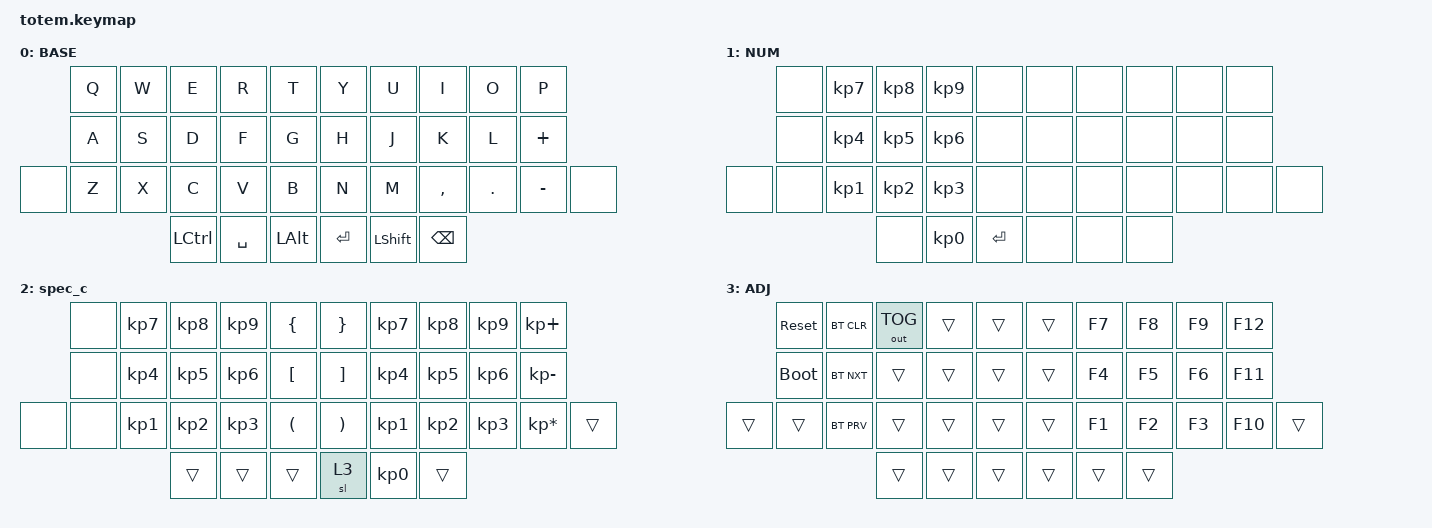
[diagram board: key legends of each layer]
//
//                                                        ▀▀▀▀▀     ▀▀▀▀▀          ▀▀█▀▀
//                                                        ▄▀▀▀▄  ▄  ▄▀▀▀▄  ▄  ▄▀▀▀▄  █  ▄▀▀▀▄
//                                                        █   █  █  █   █  █  █   █  █  █   █
//                                                         ▀▀▀   █   ▀▀▀   █   ▀▀▀   ▀   ▀▀▀
//                                                               █      ▄▄▄█▄▄▄    █   █  
//                                                               ▀      █  █  █     █▄█
//                                                             ▀▀▀▀▀    █  █  █      ▀
//                                                                      ▀  ▀  ▀
//
// ▄▄▄▄▄▄▄▄▄▄▄▄▄▄▄▄▄▄▄▄▄▄▄▄▄▄▄▄▄▄▄▄▄▄▄▄▄▄▄▄▄▄▄▄▄▄▄▄▄▄▄▄▄▄▄▄▄▄▄▄▄▄▄▄▄▄▄▄▄▄▄▄▄▄▄▄▄▄▄▄▄▄▄▄▄▄▄▄▄▄▄▄▄▄▄▄▄▄▄▄▄▄▄▄▄▄▄▄▄▄▄▄▄▄▄▄▄▄▄▄▄▄▄▄▄▄▄▄▄▄▄▄▄▄▄▄▄▄▄▄▄▄▄▄▄▄▄▄▄

#include <behaviors.dtsi>
#include <dt-bindings/zmk/bt.h>
#include <dt-bindings/zmk/keys.h>
#include <dt-bindings/zmk/outputs.h>

#define BASE 0
#define NAV  1
#define SYM  2
#define ADJ  3
#define TVP1 4
#define TVP2 5

&mt {
    quick-tap-ms = <100>;
    global-quick-tap;
    flavor = "tap-preferred";
    tapping-term-ms = <170>;
};

/ {
    combos {
        compatible = "zmk,combos";

        combo_esc {
            timeout-ms = <50>;
            key-positions = <0 1>;
            bindings = <&kp ESC>;
        };

        combo_tab {
            bindings = <&kp TAB>;
            key-positions = <11 12>;
        };

        combo_enter {
            bindings = <&kp ENTER>;
            key-positions = <17 18>;
        };

        combo_layer1 {
            bindings = <&sl 1>;
            key-positions = <22 23 24>;
        };

        combo_layer0 {
            bindings = <&sl 0>;
            key-positions = <11 12 13>;
        };
    };

    macros {
        gif: gif {
            label = "giphy";
            compatible = "zmk,behavior-macro";
            #binding-cells = <0>;
            bindings =
                <&macro_press>,
                <&kp LSHFT>,
                <&macro_tap>,
                <&kp N2>,
                <&macro_release>,
                <&kp LSHFT>,
                <&macro_tap>,
                <&kp G &kp I &kp F>;
        };
    };

    keymap {
        compatible = "zmk,keymap";

        // ▄▄▄▄▄▄▄▄▄▄▄▄▄▄▄▄▄▄▄▄▄▄▄▄▄▄▄▄▄▄▄▄▄▄▄▄▄▄▄▄▄▄▄▄▄▄▄▄▄▄▄▄▄▄▄▄▄▄▄▄▄▄▄▄▄▄▄▄▄▄▄▄▄▄▄▄▄▄▄▄▄▄▄▄▄▄▄▄▄▄▄▄▄▄▄▄▄▄▄▄▄▄▄▄▄▄▄▄▄▄▄▄▄▄▄▄▄▄▄▄▄▄▄▄▄▄▄▄▄▄▄▄▄▄▄▄▄▄▄▄▄▄▄▄▄▄▄▄▄

        base_layer {
            // ┏━━━━━━━━━━━━━━━━━━━━━━━━━━━━━━━━━━━━━━━┓

            label = "BASE";

            // ┗━━━━━━━━━━━━━━━━━━━━━━━━━━━━━━━━━━━━━━━┛
            //             ┏━━━━━━━━━━━┳━━━━━━━━━━━┳━━━━━━━━━━━┳━━━━━━━━━━━┳━━━━━━━━━━━┓   ┏━━━━━━━━━━━┳━━━━━━━━━━━┳━━━━━━━━━━━┳━━━━━━━━━━━┳━━━━━━━━━━━┓
            //             ┃     Q     ┃     W     ┃     F     ┃     P     ┃     G     ┃   ┃     J     ┃     L     ┃     U     ┃     Y     ┃     ;     ┃
            //             ┣━━━━━━━━━━━╋━━━━━━━━━━━╋━━━━━━━━━━━╋━━━━━━━━━━━╋━━━━━━━━━━━┫   ┣━━━━━━━━━━━╋━━━━━━━━━━━╋━━━━━━━━━━━╋━━━━━━━━━━━╋━━━━━━━━━━━┫
            //             ┃     A     ┃     R     ┃     S     ┃     T     ┃     D     ┃   ┃     H     ┃     N     ┃     E     ┃     I     ┃     O     ┃
            // ┏━━━━━━━━━━━╋━━━━━━━━━━━╋━━━━━━━━━━━╋━━━━━━━━━━━╋━━━━━━━━━━━╋━━━━━━━━━━━┫   ┣━━━━━━━━━━━╋━━━━━━━━━━━╋━━━━━━━━━━━╋━━━━━━━━━━━╋━━━━━━━━━━━╋━━━━━━━━━━━┓
            // ┃     Q     ┃     Z     ┃     X     ┃     C     ┃     V     ┃     B     ┃   ┃     K     ┃     M     ┃     ,     ┃     .     ┃     /     ┃     \     ┃
            // ┗━━━━━━━━━━━┻━━━━━━━━━━━┻━━━━━━━━━━━╋━━━━━━━━━━━╋━━━━━━━━━━━╋━━━━━━━━━━━┫   ┣━━━━━━━━━━━╋━━━━━━━━━━━╋━━━━━━━━━━━╋━━━━━━━━━━━┻━━━━━━━━━━━┻━━━━━━━━━━━┛
            //                                     ┃    DEL    ┃    TAB    ┃    SPC    ┃   ┃   ENTER   ┃           ┃   BSPC    ┃
            //                                     ┗━━━━━━━━━━━┻━━━━━━━━━━━┻━━━━━━━━━━━┛   ┗━━━━━━━━━━━┻━━━━━━━━━━━┻━━━━━━━━━━━┛

            bindings = <
       &kp Q  &kp W  &kp E             &kp R      &kp T           &kp Y    &kp U           &kp I      &kp O    &kp P
       &kp A  &kp S  &kp D             &kp F      &kp G           &kp H    &kp J           &kp K      &kp L    &kp PLUS
&none  &kp Z  &kp X  &kp C             &kp V      &kp B           &kp N    &kp M           &kp COMMA  &kp DOT  &kp MINUS  &none
                     &kp LEFT_CONTROL  &kp SPACE  &kp LEFT_ALT    &kp RET  &kp LEFT_SHIFT  &kp BSPC
            >;
        };

        numpad {
            // ┏━━━━━━━━━━━━━━━━━━━━━━━━━━━━━━━━━━━━━━━┓

            label = "NUM";

            // ┗━━━━━━━━━━━━━━━━━━━━━━━━━━━━━━━━━━━━━━━┛
            //             ┏━━━━━━━━━━━┳━━━━━━━━━━━┳━━━━━━━━━━━┳━━━━━━━━━━━┳━━━━━━━━━━━┓   ┏━━━━━━━━━━━┳━━━━━━━━━━━┳━━━━━━━━━━━┳━━━━━━━━━━━┳━━━━━━━━━━━┓
            //             ┃           ┃           ┃     UP    ┃           ┃     {     ┃   ┃     }     ┃     7     ┃     8     ┃     9     ┃     +     ┃
            //             ┣━━━━━━━━━━━╋━━━━━━━━━━━╋━━━━━━━━━━━╋━━━━━━━━━━━╋━━━━━━━━━━━┫   ┣━━━━━━━━━━━╋━━━━━━━━━━━╋━━━━━━━━━━━╋━━━━━━━━━━━╋━━━━━━━━━━━┫
            //             ┃   SHIFT   ┃   LEFT    ┃    DOWN   ┃   RIGHT   ┃     [     ┃   ┃     ]     ┃     4     ┃     5     ┃     6     ┃     -     ┃
            // ┏━━━━━━━━━━━╋━━━━━━━━━━━╋━━━━━━━━━━━╋━━━━━━━━━━━╋━━━━━━━━━━━╋━━━━━━━━━━━┫   ┣━━━━━━━━━━━╋━━━━━━━━━━━╋━━━━━━━━━━━╋━━━━━━━━━━━╋━━━━━━━━━━━╋━━━━━━━━━━━┓
            // ┃           ┃           ┃   P UP    ┃  C LOCK   ┃  P DOWN   ┃     (     ┃   ┃     )     ┃     1     ┃     2     ┃     3     ┃     *     ┃           ┃
            // ┗━━━━━━━━━━━┻━━━━━━━━━━━┻━━━━━━━━━━━╋━━━━━━━━━━━╋━━━━━━━━━━━╋━━━━━━━━━━━┫   ┣━━━━━━━━━━━╋━━━━━━━━━━━╋━━━━━━━━━━━╋━━━━━━━━━━━┻━━━━━━━━━━━┻━━━━━━━━━━━┛
            //                                     ┃           ┃    TAB    ┃    SPC    ┃   ┃    DEL    ┃     0     ┃           ┃
            //                                     ┗━━━━━━━━━━━┻━━━━━━━━━━━┻━━━━━━━━━━━┛   ┗━━━━━━━━━━━┻━━━━━━━━━━━┻━━━━━━━━━━━┛

            bindings = <
       &none  &kp KP_NUMBER_7  &kp KP_NUMBER_8  &kp KP_NUMBER_9  &none        &none  &none  &none  &none  &none
       &none  &kp KP_NUMBER_4  &kp KP_NUMBER_5  &kp KP_NUMBER_6  &none        &none  &none  &none  &none  &none
&none  &none  &kp KP_NUMBER_1  &kp KP_NUMBER_2  &kp KP_NUMBER_3  &none        &none  &none  &none  &none  &none  &none
                               &none            &kp KP_NUMBER_0  &kp ENTER    &none  &none  &none
            >;
        };

        special_characters {
            label = "spec_c";
            bindings = <
       &none  &kp KP_NUMBER_7  &kp KP_NUMBER_8  &kp KP_NUMBER_9  &kp LBRC    &kp RBRC  &kp KP_N7  &kp KP_N8  &kp KP_N9  &kp KP_PLUS
       &none  &kp KP_NUMBER_4  &kp KP_NUMBER_5  &kp KP_NUMBER_6  &kp LBKT    &kp RBKT  &kp KP_N4  &kp KP_N5  &kp KP_N6  &kp KP_MINUS
&none  &none  &kp KP_NUMBER_1  &kp KP_NUMBER_2  &kp KP_NUMBER_3  &kp LPAR    &kp RPAR  &kp KP_N1  &kp KP_N2  &kp KP_N3  &kp KP_MULTIPLY  &trans
                               &trans           &trans           &trans      &sl 3     &kp KP_N0  &trans
            >;
        };

        adjust_layer {
            // ┏━━━━━━━━━━━━━━━━━━━━━━━━━━━━━━━━━━━━━━━┓

            label = "ADJ";

            // ┗━━━━━━━━━━━━━━━━━━━━━━━━━━━━━━━━━━━━━━━┛
            //             ┏━━━━━━━━━━━┳━━━━━━━━━━━┳━━━━━━━━━━━┳━━━━━━━━━━━┳━━━━━━━━━━━┓   ┏━━━━━━━━━━━┳━━━━━━━━━━━┳━━━━━━━━━━━┳━━━━━━━━━━━┳━━━━━━━━━━━┓
            //             ┃   RESET   ┃ BT CLEAR  ┃  OUT TOG  ┃           ┃           ┃   ┃           ┃    F7     ┃    F8     ┃    F9     ┃    F12    ┃
            //             ┣━━━━━━━━━━━╋━━━━━━━━━━━╋━━━━━━━━━━━╋━━━━━━━━━━━╋━━━━━━━━━━━┫   ┣━━━━━━━━━━━╋━━━━━━━━━━━╋━━━━━━━━━━━╋━━━━━━━━━━━╋━━━━━━━━━━━┫
            //             ┃ BOOTLOAD  ┃ BT NEXT   ┃           ┃           ┃           ┃   ┃           ┃    F4     ┃    F5     ┃    F6     ┃    F11    ┃
            // ┏━━━━━━━━━━━╋━━━━━━━━━━━╋━━━━━━━━━━━╋━━━━━━━━━━━╋━━━━━━━━━━━╋━━━━━━━━━━━┫   ┣━━━━━━━━━━━╋━━━━━━━━━━━╋━━━━━━━━━━━╋━━━━━━━━━━━╋━━━━━━━━━━━╋━━━━━━━━━━━┓
            // ┃           ┃           ┃ BT PREV   ┃           ┃           ┃           ┃   ┃           ┃    F1     ┃    F2     ┃    F3     ┃    F10    ┃           ┃
            // ┗━━━━━━━━━━━┻━━━━━━━━━━━┻━━━━━━━━━━━╋━━━━━━━━━━━╋━━━━━━━━━━━╋━━━━━━━━━━━┫   ┣━━━━━━━━━━━╋━━━━━━━━━━━╋━━━━━━━━━━━╋━━━━━━━━━━━┻━━━━━━━━━━━┻━━━━━━━━━━━┛
            //                                     ┃           ┃           ┃           ┃   ┃           ┃           ┃           ┃
            //                                     ┗━━━━━━━━━━━┻━━━━━━━━━━━┻━━━━━━━━━━━┛   ┗━━━━━━━━━━━┻━━━━━━━━━━━┻━━━━━━━━━━━┛

            bindings = <
        &sys_reset   &bt BT_CLR  &out OUT_TOG  &trans  &trans    &trans  &kp F7  &kp F8  &kp F9  &kp F12
        &bootloader  &bt BT_NXT  &trans        &trans  &trans    &trans  &kp F4  &kp F5  &kp F6  &kp F11
&trans  &trans       &bt BT_PRV  &trans        &trans  &trans    &trans  &kp F1  &kp F2  &kp F3  &kp F10  &trans
                                 &trans        &trans  &trans    &trans  &trans  &trans
            >;
        };

        // ▄▄▄▄▄▄▄▄▄▄▄▄▄▄▄▄▄▄▄▄▄▄▄▄▄▄▄▄▄▄▄▄▄▄▄▄▄▄▄▄▄▄▄▄▄▄▄▄▄▄▄▄▄▄▄▄▄▄▄▄▄▄▄▄▄▄▄▄▄▄▄▄▄▄▄▄▄▄▄▄▄▄▄▄▄▄▄▄▄▄▄▄▄▄▄▄▄▄▄▄▄▄▄▄▄▄▄▄▄▄▄▄▄▄▄▄▄▄▄▄▄▄▄▄▄▄▄▄▄▄▄▄▄▄▄▄▄▄▄▄▄▄▄▄▄▄▄▄▄
        // ▄▄▄▄▄▄▄▄▄▄▄▄▄▄▄▄▄▄▄▄▄▄▄▄▄▄▄▄▄▄▄▄▄▄▄▄▄▄▄▄▄▄▄▄▄▄▄▄▄▄▄▄▄▄▄▄▄▄▄▄▄▄▄▄▄▄▄▄▄▄▄▄▄▄▄▄▄▄▄▄▄▄▄▄▄▄▄▄▄▄▄▄▄▄▄▄▄▄▄▄▄▄▄▄▄▄▄▄▄▄▄▄▄▄▄▄▄▄▄▄▄▄▄▄▄▄▄▄▄▄▄▄▄▄▄▄▄▄▄▄▄▄▄▄▄▄▄▄▄
    };
};
